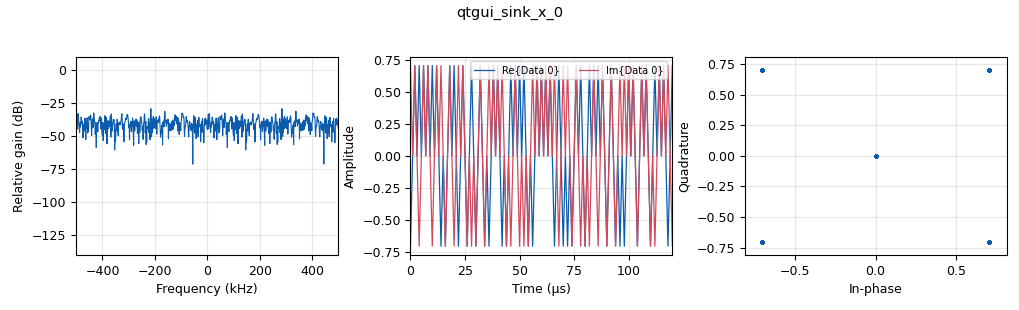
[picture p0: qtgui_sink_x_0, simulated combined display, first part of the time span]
options:
  parameters:
    generate_options: qt_gui
    id: test2
    output_language: python
    title: Not titled yet
  states: {}

blocks:
- name: samp_rate
  id: variable
  parameters:
    value: '100000'
  states: {}
- name: analog_random_source_x_0
  id: analog_random_source_x
  parameters:
    max: '255'
    min: '0'
    num_samps: '1000'
    repeat: 'True'
    type: byte
  states: {}
- name: blocks_throttle_0
  id: blocks_throttle
  parameters:
    samples_per_second: samp_rate
    type: complex
  states: {}
- name: dtv_dvbs2_interleaver_bb_0
  id: dtv_dvbs2_interleaver_bb
  parameters:
    constellation: MOD_QPSK
    framesize: FECFRAME_NORMAL
    rate1: C1_4
  states: {}
- name: dtv_dvbs2_modulator_bc_0
  id: dtv_dvbs2_modulator_bc
  parameters:
    constellation: MOD_QPSK
    framesize: FECFRAME_NORMAL
    interpolation: INTERPOLATION_OFF
    rate1: C1_4
  states: {}
- name: dtv_dvbs2_physical_cc_0
  id: dtv_dvbs2_physical_cc
  parameters:
    constellation: MOD_QPSK
    framesize: FECFRAME_NORMAL
    goldcode: '0'
    pilots: PILOTS_OFF
    rate1: C1_4
  states: {}
- name: qtgui_sink_x_0
  id: qtgui_sink_x
  parameters:
    bw: samp_rate*10
    fc: '0'
    fftsize: '1024'
    type: complex
    wintype: firdes.WIN_BLACKMAN_hARRIS
  states: {}

connections:
- [analog_random_source_x_0, '0', dtv_dvbs2_interleaver_bb_0, '0']
- [blocks_throttle_0, '0', qtgui_sink_x_0, '0']
- [dtv_dvbs2_interleaver_bb_0, '0', dtv_dvbs2_modulator_bc_0, '0']
- [dtv_dvbs2_modulator_bc_0, '0', dtv_dvbs2_physical_cc_0, '0']
- [dtv_dvbs2_physical_cc_0, '0', blocks_throttle_0, '0']

metadata:
  file_format: 1
